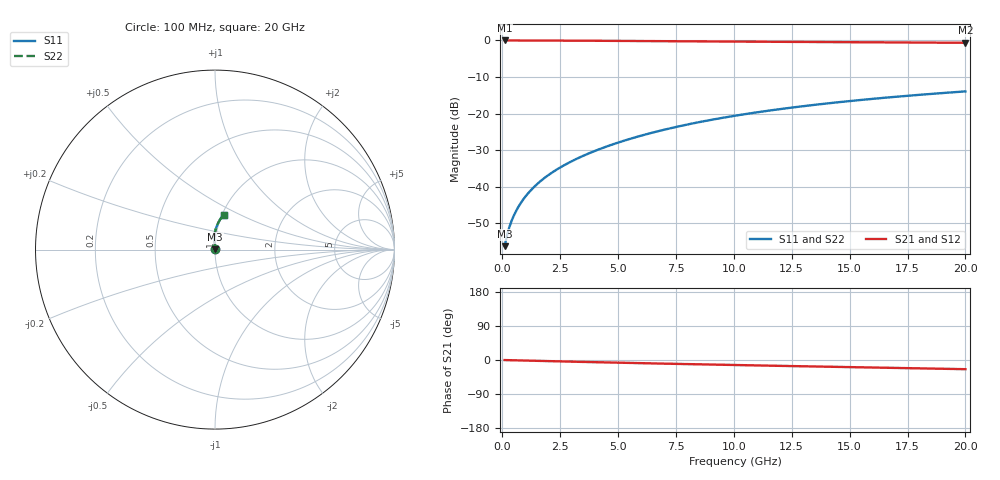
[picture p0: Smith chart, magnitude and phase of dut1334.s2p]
! Touchstone file exported from HFSS 2024.1.0
!  File:  C:/UserFiles/LocalFiles/RDL_TSV_Batchsim/temp_RDL_top_1334_1780365581.aedt
!  Generated:  10:01:46 AM Jun  2, 2026
!  Design:  RDL_top
!  Project:  temp_RDL_top_1334_1780365581
!  Setup:  Setup1
!  Solution:  Sweep
! Variables:
!  dtsv = 10.80580581um
!  hbump = 3um
!  htsv = 74.67um
!  ldown = 100um
!  lrdl = 355.8um
!  p = 40
!  p1 = 49.31um
!  rhole = 1um
!  t = 450um
!  tdown = 3.915915916um
!  trdl = 4.2um
!  wdown = 15.38538539um
!  wrdl = 28.46um
# GHz S MA R 50.000000
! Terminal data exported
! Port[1] = Box2_T1
! Port[2] = Box2_T2
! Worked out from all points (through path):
!   200 points, 100 MHz to 20 GHz, reference 50 ohm
!   highest |S21| = -0.01 dB at 100 MHz (marker M1); lowest = -0.6 dB at 20 GHz (marker M2)
!   group delay of S21, straight-line fit = 3.31 ps
!   lowest |S11| = -56.3 dB at 100 MHz (marker M3), VSWR 1.00, Z = 50.1 + j0.0856 ohm
!   |S11| at or under -10 dB: start of sweep to end of sweep
!   |S22| runs from -56.3 to -13.9 dB; largest |S21 - S12| = 3.2e-15
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0.1  0.001537 33.8  0.9987 -0.2  0.9987 -0.2  0.001537 33.8
! Gamma 0 0 0 0
! Port Impedance 50 0 50 0
0.2  0.002139 50.0  0.9986 -0.3  0.9986 -0.3  0.002139 50.0
0.3  0.002774 58.3  0.9984 -0.5  0.9984 -0.5  0.002774 58.3
0.4  0.003405 63.7  0.9983 -0.6  0.9983 -0.6  0.003405 63.7
0.5  0.004038 67.7  0.9982 -0.8  0.9982 -0.8  0.004038 67.7
0.6  0.004678 70.8  0.9981 -0.9  0.9981 -0.9  0.004678 70.8
0.8  0.005987 75.6  0.9979 -1.2  0.9979 -1.2  0.005987 75.6
1.1  0.008017 80.2  0.9975 -1.6  0.9975 -1.6  0.008017 80.2
1.3  0.009407 82.5  0.9972 -1.9  0.9972 -1.9  0.009407 82.5
1.6  0.01154 85.0  0.9966 -2.4  0.9966 -2.4  0.01154 85.0
2.1  0.01523 88.0  0.9955 -3.1  0.9955 -3.1  0.01524 88.0
2.7  0.01989 90.4  0.9938 -4.0  0.9938 -4.0  0.01989 90.4
3.5  0.02648 92.5  0.9911 -5.1  0.9911 -5.1  0.02649 92.5
4.2  0.03263 93.5  0.9884 -6.0  0.9884 -6.0  0.03264 93.5
5  0.04007 94.1  0.9851 -7.1  0.9851 -7.1  0.04008 94.1
6.8  0.05811 93.9  0.9773 -9.4  0.9773 -9.4  0.05813 93.9
8.4  0.07521 92.5  0.9705 -11.3  0.9705 -11.3  0.07523 92.5
10.1  0.09394 90.4  0.9635 -13.3  0.9635 -13.3  0.09398 90.4
11.7  0.1118 88.2  0.9573 -15.1  0.9573 -15.1  0.1118 88.2
13.4  0.1306 85.7  0.951 -17.0  0.951 -17.0  0.1307 85.7
16.7  0.1665 80.9  0.9394 -20.7  0.9394 -20.7  0.1666 80.9
20  0.2009 76.3  0.9281 -24.2  0.9281 -24.2  0.201 76.3
